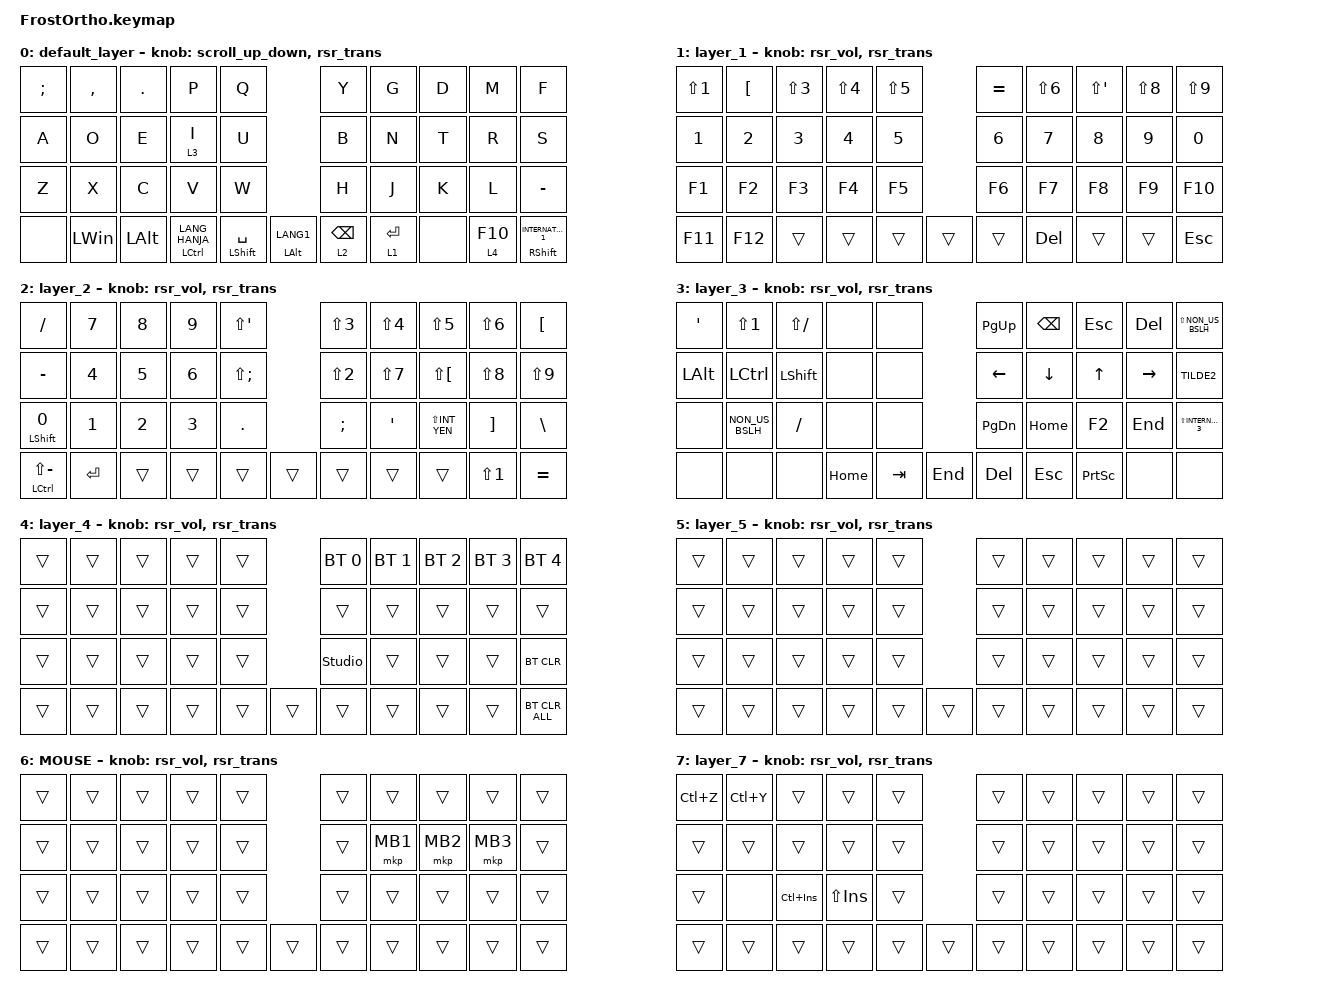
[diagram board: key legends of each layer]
#include <input/processors.dtsi>
#include <behaviors/runtime-sensor-rotate.dtsi>
#include <behaviors.dtsi>
#include <dt-bindings/zmk/bt.h>
#include <dt-bindings/zmk/keys.h>
#include <dt-bindings/zmk/pointing.h>

#define ZMK_POINTING_DEFAULT_SCRL_VAL 100
#define MOUSE 6

&mt {
    flavor = "balanced";
    quick-tap-ms = <0>;
};

// AML クリックしたときにタイムアウトを延長

&mkp_input_listener { input-processors = <&zip_temp_layer 6 10000>; };

/ {
    combos {
        compatible = "zmk,combos";

        mkp-left-click {
            bindings = <&mkp LCLK>;
            key-positions = <16 17>;
        };

        mkp-right-click {
            bindings = <&mkp RCLK>;
            key-positions = <17 18>;
        };

        mkp-middle-click {
            bindings = <&mkp MCLK>;
            key-positions = <16 18>;
        };

        kp-enter {
            bindings = <&kp KP_ENTER>;
            key-positions = <23 26>;
        };

        wrap-paren {
            bindings = <&wrap_paren>;
            key-positions = <14 15>;
        };

        wrap-brace {
            bindings = <&wrap_brace>;
            key-positions = <24 25>;
        };

        wrap-bracket {
            bindings = <&wrap_bracket>;
            key-positions = <4 5>;
        };

        wrap-quote {
            bindings = <&wrap_quote>;
            key-positions = <10 19>;
        };

        wrap-dquote {
            bindings = <&wrap_dquote>;
            key-positions = <20 29>;
        };

        wrap-grave {
            bindings = <&wrap_grave>;
            key-positions = <0 9>;
        };
    };

    macros {
        wrap_paren: wrap_paren {
            compatible = "zmk,behavior-macro";
            #binding-cells = <0>;
            bindings = <&kp LS(NUMBER_8) &kp LS(NUMBER_9) &kp LEFT_ARROW>;
            label = "WRAP_PAREN";
        };

        wrap_brace: wrap_brace {
            compatible = "zmk,behavior-macro";
            #binding-cells = <0>;
            bindings = <&kp LS(RIGHT_BRACKET) &kp LS(BACKSLASH) &kp LEFT_ARROW>;
            label = "WRAP_BRACE";
        };

        wrap_bracket: wrap_bracket {
            compatible = "zmk,behavior-macro";
            #binding-cells = <0>;
            bindings = <&kp RIGHT_BRACKET &kp BACKSLASH &kp LEFT_ARROW>;
            label = "WRAP_BRACKET";
        };

        wrap_quote: wrap_quote {
            compatible = "zmk,behavior-macro";
            #binding-cells = <0>;
            bindings = <&kp LS(NUMBER_7) &kp LS(NUMBER_7) &kp LEFT_ARROW>;
            label = "WRAP_QUOTE";
        };

        wrap_dquote: wrap_dquote {
            compatible = "zmk,behavior-macro";
            #binding-cells = <0>;
            bindings = <&kp LS(NUMBER_2) &kp LS(NUMBER_2) &kp LEFT>;
            label = "WRAP_DQUOTE";
        };

        wrap_grave: wrap_grave {
            compatible = "zmk,behavior-macro";
            #binding-cells = <0>;
            bindings = <&kp LS(NON_US_HASH) &kp LS(NON_US_HASH) &kp LEFT>;
            label = "WRAP_GRAVE";
        };
    };

    behaviors {
        // Kyemap Editor用

        scroll_up_down: behavior_sensor_rotate_mouse_wheel_up_down {
            compatible = "zmk,behavior-sensor-rotate";
            #sensor-binding-cells = <0>;
            tap-ms = <20>;
            bindings = <&msc SCRL_UP>, <&msc SCRL_DOWN>;
        };

        vol_up_down: vol_up_down {
            compatible = "zmk,behavior-sensor-rotate";
            #sensor-binding-cells = <0>;
            tap-ms = <5>;
            bindings = <&kp C_VOL_DN>, <&kp C_VOL_UP>;
        };

        // DYA Studio用

        rsr_vol: rsr_vol {
            compatible = "zmk,behavior-runtime-sensor-rotate";
            #sensor-binding-cells = <0>;
            tap-ms = <5>;
            cw-binding = <&kp C_VOL_DN>;
            ccw-binding = <&kp C_VOL_UP>;
        };
    };

    keymap {
        compatible = "zmk,keymap";

        default_layer {
            bindings = <
&kp SEMI  &kp COMMA     &kp DOT       &kp P                        &kp Q                                         &kp Y            &kp G        &kp D  &kp M      &kp F
&kp A     &kp O         &kp E         &lt 3 I                      &kp U                                         &kp B            &kp N        &kp T  &kp R      &kp S
&kp Z     &kp X         &kp C         &kp V                        &kp W                                         &kp H            &kp J        &kp K  &kp L      &kp MINUS
&none     &kp LEFT_WIN  &kp LEFT_ALT  &mt LEFT_CONTROL LANG_HANJA  &mt LEFT_SHIFT SPACE  &mt LEFT_ALT LANG1      &lt 2 BACKSPACE  &lt 1 ENTER  &none  &lt 4 F10  &mt RIGHT_SHIFT INTERNATIONAL_1
            >;

            sensor-bindings = <&scroll_up_down>, <&rsr_trans>;
        };

        layer_1 {
            bindings = <
&kp LS(N1)  &kp LEFT_BRACKET  &kp LS(N3)  &kp LS(N4)  &kp LS(N5)              &kp EQUAL  &kp LS(NUMBER_6)  &kp LS(APOSTROPHE)  &kp LS(NUMBER_8)  &kp LS(NUMBER_9)
&kp N1      &kp N2            &kp N3      &kp N4      &kp N5                  &kp N6     &kp N7            &kp N8              &kp N9            &kp N0
&kp F1      &kp F2            &kp F3      &kp F4      &kp F5                  &kp F6     &kp F7            &kp F8              &kp F9            &kp F10
&kp F11     &kp F12           &trans      &trans      &trans      &trans      &trans     &kp DEL           &trans              &trans            &kp ESCAPE
            >;

            sensor-bindings = <&rsr_vol &rsr_trans>;
        };

        layer_2 {
            bindings = <
&kp SLASH                   &kp N7     &kp N8  &kp N9  &kp LS(SQT)                    &kp LS(NUMBER_3)  &kp LS(NUMBER_4)  &kp LS(NUMBER_5)      &kp LS(NUMBER_6)   &kp LEFT_BRACKET
&kp MINUS                   &kp N4     &kp N5  &kp N6  &kp LS(SEMICOLON)              &kp LS(N2)        &kp LS(N7)        &kp LS(LEFT_BRACKET)  &kp LS(NUMBER_8)   &kp LS(NUMBER_9)
&mt LEFT_SHIFT N0           &kp N1     &kp N2  &kp N3  &kp PERIOD                     &kp SEMICOLON     &kp SQT           &kp LS(INT_YEN)       &kp RIGHT_BRACKET  &kp BACKSLASH
&mt LEFT_CONTROL LS(MINUS)  &kp ENTER  &trans  &trans  &trans             &trans      &trans            &trans            &trans                &kp LS(NUMBER_1)   &kp EQUAL
            >;

            sensor-bindings = <&rsr_vol &rsr_trans>;
        };

        layer_3 {
            bindings = <
&kp APOSTROPHE  &kp LS(NUMBER_1)  &kp LS(SLASH)   &none     &none                 &kp PAGE_UP    &kp BACKSPACE  &kp ESCAPE       &kp DELETE  &kp LS(NON_US_BSLH)
&kp LEFT_ALT    &kp LEFT_CONTROL  &kp LEFT_SHIFT  &none     &none                 &kp LEFT       &kp DOWN       &kp UP           &kp RIGHT   &kp TILDE2
&none           &kp NON_US_BSLH   &kp SLASH       &none     &none                 &kp PAGE_DOWN  &kp HOME       &kp F2           &kp END     &kp LS(INTERNATIONAL_3)
&none           &none             &none           &kp HOME  &kp TAB  &kp END      &kp DELETE     &kp ESCAPE     &kp PRINTSCREEN  &none       &none
            >;

            sensor-bindings = <&rsr_vol &rsr_trans>;
        };

        layer_4 {
            bindings = <
&trans  &trans  &trans  &trans  &trans              &bt BT_SEL 0    &bt BT_SEL 1  &bt BT_SEL 2  &bt BT_SEL 3  &bt BT_SEL 4
&trans  &trans  &trans  &trans  &trans              &trans          &trans        &trans        &trans        &trans
&trans  &trans  &trans  &trans  &trans              &studio_unlock  &trans        &trans        &trans        &bt BT_CLR
&trans  &trans  &trans  &trans  &trans  &trans      &trans          &trans        &trans        &trans        &bt BT_CLR_ALL
            >;

            sensor-bindings = <&rsr_vol &rsr_trans>;
        };

        layer_5 {
            bindings = <
&trans  &trans  &trans  &trans  &trans              &trans  &trans  &trans  &trans  &trans
&trans  &trans  &trans  &trans  &trans              &trans  &trans  &trans  &trans  &trans
&trans  &trans  &trans  &trans  &trans              &trans  &trans  &trans  &trans  &trans
&trans  &trans  &trans  &trans  &trans  &trans      &trans  &trans  &trans  &trans  &trans
            >;

            sensor-bindings = <&rsr_vol &rsr_trans>;
        };

        MOUSE {
            bindings = <
&trans  &trans  &trans  &trans  &trans              &trans  &trans    &trans    &trans    &trans
&trans  &trans  &trans  &trans  &trans              &trans  &mkp MB1  &mkp MB2  &mkp MB3  &trans
&trans  &trans  &trans  &trans  &trans              &trans  &trans    &trans    &trans    &trans
&trans  &trans  &trans  &trans  &trans  &trans      &trans  &trans    &trans    &trans    &trans
            >;

            sensor-bindings = <&rsr_vol &rsr_trans>;
        };

        layer_7 {
            bindings = <
&kp LC(Z)  &kp LC(Y)  &trans       &trans       &trans              &trans  &trans  &trans  &trans  &trans
&trans     &trans     &trans       &trans       &trans              &trans  &trans  &trans  &trans  &trans
&trans     &none      &kp LC(INS)  &kp LS(INS)  &trans              &trans  &trans  &trans  &trans  &trans
&trans     &trans     &trans       &trans       &trans  &trans      &trans  &trans  &trans  &trans  &trans
            >;

            sensor-bindings = <&rsr_vol &rsr_trans>;
        };
    };
};
